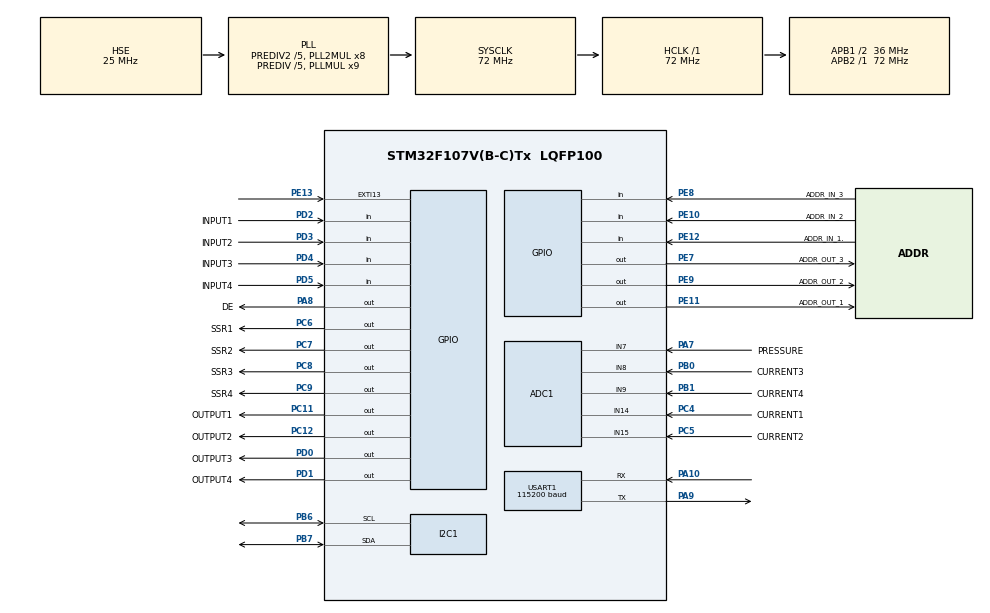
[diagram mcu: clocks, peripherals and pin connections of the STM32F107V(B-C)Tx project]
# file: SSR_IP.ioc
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ADC1.Channel-0\#ChannelRegularConversion=ADC_CHANNEL_14
ADC1.Channel-1\#ChannelRegularConversion=ADC_CHANNEL_15
ADC1.Channel-2\#ChannelRegularConversion=ADC_CHANNEL_8
ADC1.Channel-3\#ChannelRegularConversion=ADC_CHANNEL_9
ADC1.Channel-4\#ChannelRegularConversion=ADC_CHANNEL_7
ADC1.ContinuousConvMode=ENABLE
ADC1.NbrOfConversion=5
ADC1.NbrOfConversionFlag=1
ADC1.Rank-0\#ChannelRegularConversion=1
ADC1.Rank-1\#ChannelRegularConversion=2
ADC1.Rank-2\#ChannelRegularConversion=3
ADC1.Rank-3\#ChannelRegularConversion=4
ADC1.Rank-4\#ChannelRegularConversion=5
ADC1.SamplingTime-0\#ChannelRegularConversion=ADC_SAMPLETIME_239CYCLES_5
ADC1.SamplingTime-1\#ChannelRegularConversion=ADC_SAMPLETIME_239CYCLES_5
ADC1.SamplingTime-2\#ChannelRegularConversion=ADC_SAMPLETIME_239CYCLES_5
ADC1.SamplingTime-3\#ChannelRegularConversion=ADC_SAMPLETIME_239CYCLES_5
ADC1.SamplingTime-4\#ChannelRegularConversion=ADC_SAMPLETIME_239CYCLES_5
ADC1.master=1
Dma.ADC1.0.Direction=DMA_PERIPH_TO_MEMORY
Dma.ADC1.0.Instance=DMA1_Channel1
Dma.ADC1.0.MemDataAlignment=DMA_MDATAALIGN_HALFWORD
Dma.ADC1.0.MemInc=DMA_MINC_ENABLE
Dma.ADC1.0.Mode=DMA_CIRCULAR
Dma.ADC1.0.PeriphDataAlignment=DMA_PDATAALIGN_HALFWORD
Dma.ADC1.0.PeriphInc=DMA_PINC_DISABLE
Dma.ADC1.0.Priority=DMA_PRIORITY_LOW
Dma.Request0=ADC1
I2C1.OwnAddress=48
IWDG.Prescaler=IWDG_PRESCALER_32
IWDG.Reload=1500
Mcu.Family=STM32F1
Mcu.Name=STM32F107V(B-C)Tx
Mcu.Package=LQFP100
NVIC.DMA1_Channel1_IRQn=true\:0\:0\:false\:false\:true\:false\:true\:true
NVIC.I2C1_ER_IRQn=true\:0\:0\:false\:false\:true\:true\:true\:true
NVIC.I2C1_EV_IRQn=true\:0\:0\:false\:false\:true\:true\:true\:true
NVIC.PriorityGroup=NVIC_PRIORITYGROUP_4
NVIC.TIM2_IRQn=true\:0\:0\:false\:false\:true\:true\:true\:true
NVIC.TIM4_IRQn=true\:0\:0\:false\:false\:true\:true\:true\:true
NVIC.TIM5_IRQn=true\:0\:0\:false\:false\:true\:true\:true\:true
NVIC.USART1_IRQn=true\:0\:0\:false\:false\:true\:true\:true\:true
OSC_IN.Mode=HSE-External-Oscillator
OSC_IN.Signal=RCC_OSC_IN
OSC_OUT.Mode=HSE-External-Oscillator
OSC_OUT.Signal=RCC_OSC_OUT
PA10.Mode=Asynchronous
PA10.Signal=USART1_RX
PA13.Mode=Serial_Wire
PA13.Signal=SYS_JTMS-SWDIO
PA14.Mode=Serial_Wire
PA14.Signal=SYS_JTCK-SWCLK
PA7.GPIO_Label=PRESSURE
PA7.Signal=ADCx_IN7
PA8.GPIO_Label=DE
PA8.Signal=GPIO_Output
PA9.Mode=Asynchronous
PA9.Signal=USART1_TX
PB0.GPIO_Label=CURRENT3
PB0.Signal=ADCx_IN8
PB1.GPIO_Label=CURRENT4
PB1.Signal=ADCx_IN9
PB6.Mode=I2C
PB6.Signal=I2C1_SCL
PB7.Mode=I2C
PB7.Signal=I2C1_SDA
PC11.GPIO_Label=OUTPUT1
PC11.Signal=GPIO_Output
PC12.GPIO_Label=OUTPUT2
PC12.Signal=GPIO_Output
PC4.GPIO_Label=CURRENT1
PC4.Signal=ADCx_IN14
PC5.GPIO_Label=CURRENT2
PC5.Signal=ADCx_IN15
PC6.GPIO_Label=SSR1
PC6.Signal=GPIO_Output
PC7.GPIO_Label=SSR2
PC7.Signal=GPIO_Output
PC8.GPIO_Label=SSR3
PC8.Signal=GPIO_Output
PC9.GPIO_Label=SSR4
PC9.Signal=GPIO_Output
PD0.GPIO_Label=OUTPUT3
PD0.Signal=GPIO_Output
PD1.GPIO_Label=OUTPUT4
PD1.Signal=GPIO_Output
PD2.GPIO_Label=INPUT1
PD2.GPIO_PuPd=GPIO_PULLDOWN
PD2.Signal=GPIO_Input
PD3.GPIO_Label=INPUT2
PD3.GPIO_PuPd=GPIO_PULLDOWN
PD3.Signal=GPIO_Input
PD4.GPIO_Label=INPUT3
PD4.GPIO_PuPd=GPIO_PULLDOWN
PD4.Signal=GPIO_Input
PD5.GPIO_Label=INPUT4
PD5.GPIO_PuPd=GPIO_PULLDOWN
PD5.Signal=GPIO_Input
PE10.GPIO_Label=ADDR_IN_2
PE10.GPIO_PuPd=GPIO_PULLDOWN
PE10.Signal=GPIO_Input
PE11.GPIO_Label=ADDR_OUT_1
PE11.Signal=GPIO_Output
PE12.GPIO_Label=ADDR_IN_1.
PE12.GPIO_PuPd=GPIO_PULLDOWN
PE12.Signal=GPIO_Input
PE13.Signal=GPXTI13
PE7.GPIO_Label=ADDR_OUT_3
PE7.Signal=GPIO_Output
PE8.GPIO_Label=ADDR_IN_3
PE8.GPIO_PuPd=GPIO_PULLDOWN
PE8.Signal=GPIO_Input
PE9.GPIO_Label=ADDR_OUT_2
PE9.Signal=GPIO_Output
ProjectManager.HeapSize=0x200
ProjectManager.StackSize=0x400
ProjectManager.TargetToolchain=STM32CubeIDE
RCC.ADCPresc=RCC_ADCPCLK2_DIV6
RCC.AHBFreq_Value=72000000
RCC.APB1CLKDivider=RCC_HCLK_DIV2
RCC.APB1Freq_Value=36000000
RCC.APB1TimFreq_Value=72000000
RCC.APB2Freq_Value=72000000
RCC.APB2TimFreq_Value=72000000
RCC.HCLKFreq_Value=72000000
RCC.HSEDivPLL=RCC_HSE_PREDIV_DIV5
RCC.HSE_VALUE=25000000
RCC.PLLMUL=RCC_PLL_MUL9
RCC.PLLSourceVirtual=RCC_PLLSOURCE_HSE
RCC.Prediv1Source=RCC_PREDIV1_SOURCE_PLL2
RCC.Prediv2=RCC_HSE_PREDIV2_DIV5
RCC.SYSCLKFreq_VALUE=72000000
RCC.SYSCLKSource=RCC_SYSCLKSOURCE_PLLCLK
RCC.USBFreq_Value=48000000
SH.ADCx_IN14.0=ADC1_IN14,IN14
SH.ADCx_IN15.0=ADC1_IN15,IN15
SH.ADCx_IN7.0=ADC1_IN7,IN7
SH.ADCx_IN8.0=ADC1_IN8,IN8
SH.ADCx_IN9.0=ADC1_IN9,IN9
TIM1.Period=65535
TIM1.Prescaler=71
TIM2.Prescaler=71
TIM4.Prescaler=71
TIM5.Prescaler=71
USART1.BaudRate=115200
USART1.Parity=PARITY_NONE
USART1.StopBits=STOPBITS_1
USART1.VirtualMode=VM_ASYNC
VP_IWDG_VS_IWDG.Mode=IWDG_Activate
VP_TIM1_VS_ClockSourceINT.Mode=Internal
VP_TIM2_VS_ClockSourceINT.Mode=Internal
VP_TIM4_VS_ClockSourceINT.Mode=Internal
VP_TIM5_VS_ClockSourceINT.Mode=Internal
board=custom

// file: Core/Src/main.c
/* USER CODE BEGIN Header */
/**
  ******************************************************************************
  * @file           : main.c
  * @brief          : Main program body
  ******************************************************************************
  * @attention
  *
  * Copyright (c) 2025 STMicroelectronics.
  * All rights reserved.
  *
  * This software is licensed under terms that can be found in the LICENSE file
  * in the root directory of this software component.
  * If no LICENSE file comes with this software, it is provided AS-IS.
  *
  ******************************************************************************
  */
/* USER CODE END Header */
#include "main.h"
#include "adc.h"
#include "dma.h"
#include "i2c.h"
#include "iwdg.h"
#include "tim.h"
#include "usart.h"
#include "gpio.h"

/* USER CODE BEGIN Includes */
#include "encoder.h"
#include <string.h>
#include <stdlib.h>
#include <stdio.h>
#include "modbusSlave.h"
/* USER CODE END Includes */

/* USER CODE BEGIN PD */
// Define AC line frequency (50Hz or 60Hz)
#define AC_LINE_FREQUENCY 60  // Change to 60 for 60Hz systems

// Calculate half-cycle period in microseconds based on frequency
#define HALF_CYCLE_PERIOD_US (1000000 / (AC_LINE_FREQUENCY * 2))

// Register address definitions (Modbus addresses - 40001 = index 0)
#define REG_LIN_ENC1_POS       0   // 40001
#define REG_LIN_ENC2_POS       1   // 40002
#define REG_LIN_ENC3_POS       2   // 40003
#define REG_LIN_ENC4_POS       3   // 40004
#define REG_ENERGY_SSR1        4   // 40005
#define REG_ENERGY_SSR2        5   // 40006
#define REG_ENERGY_SSR3        6   // 40007
#define REG_ENERGY_SSR4        7   // 40008

#define REG_SSR1_CTRL          100 // 40101
#define REG_SSR2_CTRL          101 // 40102
#define REG_SSR3_CTRL          102 // 40103
#define REG_SSR4_CTRL          103 // 40104
#define REG_RESET_ENC1         104 // 40105
#define REG_RESET_ENC2         105 // 40106
#define REG_RESET_ENC3         106 // 40107
#define REG_RESET_ENC4         107 // 40108
#define REG_RESET_ENERGY1      108 // 40109
#define REG_RESET_ENERGY2      109 // 40110
#define REG_RESET_ENERGY3      110 // 40111
#define REG_RESET_ENERGY4      111 // 40112
#define REG_TIP_ENERGY_PCT1    112 // 40113
#define REG_TIP_ENERGY_PCT2    113 // 40114
#define REG_TIP_ENERGY_PCT3    114 // 40115
#define REG_TIP_ENERGY_PCT4    115 // 40116
/* USER CODE END PD */

/* USER CODE BEGIN PV */
#define LINE_VOLTAGE 110.0f // Assuming 220V AC line voltage. Please change if different.
static float energy_joules[4] = {0.0f, 0.0f, 0.0f, 0.0f};
static uint32_t last_energy_tick = 0;

uint8_t RxData[256];
uint8_t TxData[256];

void HAL_UARTEx_RxEventCallback(UART_HandleTypeDef *huart, uint16_t Size)
{

	if (RxData[0] == SLAVE_ID)
	{
//     Refresh IWDG counter to prevent reset
		if (HAL_IWDG_Refresh(&hiwdg) != HAL_OK)
		{
			Error_Handler(); // Implement your error handler
		}
		switch (RxData[1]){
		case 0x03:
			readHoldingRegs();
			break;
		case 0x04:
			readInputRegs();
			break;
		case 0x01:
			readCoils();
			break;
		case 0x02:
			readInputs();
			break;
		case 0x06:
			writeSingleReg();
			break;
		case 0x10:
			writeHoldingRegs();
			break;
		case 0x05:
			writeSingleCoil();
			break;
		case 0x0F:
			writeMultiCoils();
			break;
		default:
			modbusException(ILLEGAL_FUNCTION);
			break;
		}
	}

	HAL_UARTEx_ReceiveToIdle_IT(&huart1, RxData, 256);
}

uint16_t dimmerValue = 0;         // Dimmer value (0-100%)
char rxBuffer[10];              // Buffer to store received characters
uint8_t rxIndex = 0;            // Index for received characters
uint8_t rxComplete = 0;         // Flag to indicate reception complete
uint8_t rxData;                 // Single byte for UART reception

// Variables for AC dimming control
// Dimmer values and delays for each SSR (1-4)
volatile uint16_t dimmerValues[4] = {0, 0, 0, 0};  // Dimmer values (0-100%) for each SSR
volatile uint16_t dimmerDelaysUs[4] = {9999, 9999, 9999, 9999};  // Calculated delay times in microseconds
volatile uint8_t triacTriggered[4] = {0, 0, 0, 0};  // Flags to indicate if triacs have been triggered in current half-cycle
volatile uint8_t ssrControlByte = 0x0F;  // Control byte for SSRs (lower 4 bits control SSR1-4)

//// For backward compatibility with existing code
//#define dimmerValue dimmerValues[0]
//#define dimmerDelayUs dimmerDelaysUs[0]

uint16_t ADC_VAL[5];

// Zero current calibration values for each channel
uint16_t zeroCurrentCal[5] = {0};
/* USER CODE END PV */

void SystemClock_Config(void);
/* USER CODE BEGIN PFP */
void get_energy_values(float* current_mA, uint8_t ssr_states[]);
void ProcessReceivedValue(void); // Function to process received data
void CalibrateZeroCurrent(void); // Function to calibrate zero current values
void SetSSRState(uint8_t ssrNum, uint8_t state); // Function to control individual SSRs
void read_modbus_address(void); // Function to read slave address from GPIOs
/* USER CODE END PFP */

/* USER CODE BEGIN 0 */

void read_modbus_address(void)
{
    // Set ADDR_OUT pins to high to power the DIP switches or jumpers
    HAL_GPIO_WritePin(ADDR_OUT_1_GPIO_Port, ADDR_OUT_1_Pin, GPIO_PIN_SET);
    HAL_GPIO_WritePin(ADDR_OUT_2_GPIO_Port, ADDR_OUT_2_Pin, GPIO_PIN_SET);
    HAL_GPIO_WritePin(ADDR_OUT_3_GPIO_Port, ADDR_OUT_3_Pin, GPIO_PIN_SET);

    // A small delay might be needed for signals to stabilize
    HAL_Delay(1);

    // Read the state of the ADDR_IN pins
    // Note: ADDR_IN_1__Pin is used as provided by the user.
    uint8_t addr_bit0 = HAL_GPIO_ReadPin(ADDR_IN_1__GPIO_Port, ADDR_IN_1__Pin); // LSB
    uint8_t addr_bit1 = HAL_GPIO_ReadPin(ADDR_IN_2_GPIO_Port, ADDR_IN_2_Pin);
    uint8_t addr_bit2 = HAL_GPIO_ReadPin(ADDR_IN_3_GPIO_Port, ADDR_IN_3_Pin); // MSB

    // Combine the bits to form the 3-bit slave address
    SLAVE_ID = (addr_bit2 << 2) | (addr_bit1 << 1) | addr_bit0;
    //SLAVE_ID ++;
}

uint64_t timeout = 500; // 500 milliseconds
uint64_t previous_time=0;
#define I2C_TIMEOUT 100

uint8_t received_data[13]={0,0,0,0,0,0,0};
uint8_t sent_data[13];

void HAL_I2C_ListenCpltCallback(I2C_HandleTypeDef *hi2c)
{
	// Re-enable I2C listening after a complete transaction
	HAL_I2C_EnableListen_IT(hi2c);
}

void no_color(void) {
    HAL_GPIO_WritePin(OUTPUT2_GPIO_Port, OUTPUT2_Pin, GPIO_PIN_RESET);
    HAL_GPIO_WritePin(OUTPUT3_GPIO_Port, OUTPUT3_Pin, GPIO_PIN_RESET);
}

void red_color(void) {
    HAL_GPIO_WritePin(OUTPUT2_GPIO_Port, OUTPUT2_Pin, GPIO_PIN_RESET);
    HAL_GPIO_WritePin(OUTPUT3_GPIO_Port, OUTPUT3_Pin, GPIO_PIN_SET);
}

void green_color(void) {
    HAL_GPIO_WritePin(OUTPUT2_GPIO_Port, OUTPUT2_Pin, GPIO_PIN_SET);
    HAL_GPIO_WritePin(OUTPUT3_GPIO_Port, OUTPUT3_Pin, GPIO_PIN_RESET);
}

void yellow_color(void) {
    HAL_GPIO_WritePin(OUTPUT2_GPIO_Port, OUTPUT2_Pin, GPIO_PIN_SET);
    HAL_GPIO_WritePin(OUTPUT3_GPIO_Port, OUTPUT3_Pin, GPIO_PIN_SET);
}

void set_led_color(uint8_t led_color) {
    switch (led_color) {
        case 0: // No color
            no_color();
            break;
        case 1: // Red color
        	green_color();
            break;
        case 2: // Green color
            red_color();
            break;
        case 3: // Yellow color
            yellow_color();
            break;
        default:
            break;
    }
}

// Function to calibrate zero current values by taking 100 samples per channel
void CalibrateZeroCurrent(void)
{
  uint32_t sampleSums[5] = {0}; // Sum of samples for each channel
  const uint16_t numSamples = 100;

  // Take 100 samples for each channel
  for(uint16_t i = 0; i < numSamples; i++) {
    // Wait for next DMA conversion to complete
    HAL_Delay(1); // Small delay to ensure new samples

    // Add current samples to sums
    for(uint8_t channel = 0; channel < 5; channel++) {
      sampleSums[channel] += ADC_VAL[channel];
    }
  }

  // Calculate averages and store as calibration values
  for(uint8_t channel = 0; channel < 5; channel++) {
    zeroCurrentCal[channel] = (uint16_t)(sampleSums[channel] / numSamples);
  }
}

// Timer Update Interrupt Callback
void HAL_TIM_PeriodElapsedCallback(TIM_HandleTypeDef *htim)
{
  if (htim->Instance == TIM1) {
    // Timer 1 controls SSR1
    if(ssrControlByte & 0x01) HAL_GPIO_WritePin(SSR1_GPIO_Port, SSR1_Pin, GPIO_PIN_SET);

    // Set flag to indicate triac has been triggered in this half-cycle
    triacTriggered[0] = 1;

    // Stop the timer
    HAL_TIM_Base_Stop_IT(&htim1);
  }
}

// GPIO EXTI Callback
void HAL_GPIO_EXTI_Callback(uint16_t GPIO_Pin)
{
  // Check if this is our zero-crossing pin
  if (GPIO_Pin == GPIO_PIN_13) {
    // Reset all triac triggered flags at each zero crossing
    for (uint8_t i = 0; i < 4; i++) {
      triacTriggered[i] = 0;
    }

    // Turn off all SSRs at zero crossing
    HAL_GPIO_WritePin(SSR1_GPIO_Port, SSR1_Pin, GPIO_PIN_RESET);
    HAL_GPIO_WritePin(SSR2_GPIO_Port, SSR2_Pin, GPIO_PIN_RESET);
    HAL_GPIO_WritePin(SSR3_GPIO_Port, SSR3_Pin, GPIO_PIN_RESET);
    HAL_GPIO_WritePin(SSR4_GPIO_Port, SSR4_Pin, GPIO_PIN_RESET);

    // Handle SSR1 with Timer1
    if (dimmerValues[0] > 0) {
      if (dimmerValues[0] < 100) {
        // Make sure timer is stopped before reconfiguring
        HAL_TIM_Base_Stop_IT(&htim1);

        // Set up Timer1 for one-shot operation with the calculated delay
        __HAL_TIM_SET_COUNTER(&htim1, 0);  // Reset counter
        __HAL_TIM_SET_AUTORELOAD(&htim1, dimmerDelaysUs[0]);  // Set delay in microseconds

        // Start the timer in interrupt mode
        HAL_TIM_Base_Start_IT(&htim1);

      } else {
        // If dimmer is 100%, keep SSR fully on
        if(ssrControlByte & 0x01) HAL_GPIO_WritePin(SSR1_GPIO_Port, SSR1_Pin, GPIO_PIN_SET);
      }
    }

    // Handle SSR2 with Timer2
    if (dimmerValues[1] > 0) {
      if (dimmerValues[1] < 100) {
        // Make sure timer is stopped before reconfiguring
        HAL_TIM_Base_Stop_IT(&htim2);

        // Set up Timer2 for one-shot operation with the calculated delay
        __HAL_TIM_SET_COUNTER(&htim2, 0);  // Reset counter
        __HAL_TIM_SET_AUTORELOAD(&htim2, dimmerDelaysUs[1]);  // Set delay in microseconds

        // Start the timer in interrupt mode
        HAL_TIM_Base_Start_IT(&htim2);
      } else {
        // If dimmer is 100%, keep SSR fully on
        if(ssrControlByte & 0x02) HAL_GPIO_WritePin(SSR2_GPIO_Port, SSR2_Pin, GPIO_PIN_SET);
      }
    }

    // Handle SSR3 with Timer4
    if (dimmerValues[2] > 0) {
      if (dimmerValues[2] < 100) {
        // Make sure timer is stopped before reconfiguring
        HAL_TIM_Base_Stop_IT(&htim4);

        // Set up Timer4 for one-shot operation with the calculated delay
        __HAL_TIM_SET_COUNTER(&htim4, 0);  // Reset counter
        __HAL_TIM_SET_AUTORELOAD(&htim4, dimmerDelaysUs[2]);  // Set delay in microseconds

        // Start the timer in interrupt mode
        HAL_TIM_Base_Start_IT(&htim4);
      } else {
        // If dimmer is 100%, keep SSR fully on
        if(ssrControlByte & 0x04) HAL_GPIO_WritePin(SSR3_GPIO_Port, SSR3_Pin, GPIO_PIN_SET);
      }
    }

    // Handle SSR4 with Timer5
    if (dimmerValues[3] > 0) {
      if (dimmerValues[3] < 100) {
        // Make sure timer is stopped before reconfiguring
        HAL_TIM_Base_Stop_IT(&htim5);

        // Set up Timer5 for one-shot operation with the calculated delay
        __HAL_TIM_SET_COUNTER(&htim5, 0);  // Reset counter
        __HAL_TIM_SET_AUTORELOAD(&htim5, dimmerDelaysUs[3]);  // Set delay in microseconds

        // Start the timer in interrupt mode
        HAL_TIM_Base_Start_IT(&htim5);
      } else {
        // If dimmer is 100%, keep SSR fully on
        if(ssrControlByte & 0x08) HAL_GPIO_WritePin(SSR4_GPIO_Port, SSR4_Pin, GPIO_PIN_SET);
      }
    }
  }
}
int32_t current_mA[4];

// Function to set individual SSR state (1-4)
void SetSSRState(uint8_t ssrNum, uint8_t state)
{
    if(ssrNum < 1 || ssrNum > 4) return; // Invalid SSR number

    uint8_t bitMask = 1 << (ssrNum - 1); // Calculate bit position (0-3)

    if(state) {
        ssrControlByte |= bitMask;  // Set bit to enable SSR
    } else {
        ssrControlByte &= ~bitMask; // Clear bit to disable SSR
    }
}

// Function to set individual SSR dimmer value (0-100%)
void SetSSRDimmerValue(uint8_t ssrNum, uint16_t value)
{
    if(ssrNum < 1 || ssrNum > 4) return; // Invalid SSR number

    // Limit to range (0-100)
    if (value > 100) {
        value = 100;
    }

    // Convert value 1 to 2 for more stable operation
    if (value == 1) {
        value = 2;
    }

    // Update dimmer value for the specified SSR
    dimmerValues[ssrNum - 1] = value;

    // Calculate dimming delay in microseconds
    if (value == 0) {
        // If dimmer is 0%, keep SSR off
        dimmerDelaysUs[ssrNum - 1] = HALF_CYCLE_PERIOD_US; // Set to max delay (never trigger)
    } else if (value == 100) {
        // If dimmer is 100%, keep SSR fully on
        dimmerDelaysUs[ssrNum - 1] = 0;     // No delay (trigger immediately)
    } else {
        // Calculate delay (0% = HALF_CYCLE_PERIOD_US delay, 100% = 0us delay)
        dimmerDelaysUs[ssrNum - 1] = HALF_CYCLE_PERIOD_US - ((value * HALF_CYCLE_PERIOD_US) / 100);

        // Make sure we have a valid delay value (not 0 or too large)
        if (dimmerDelaysUs[ssrNum - 1] >= HALF_CYCLE_PERIOD_US) {
            dimmerDelaysUs[ssrNum - 1] = HALF_CYCLE_PERIOD_US - 100; // Leave a small margin
        } else if (dimmerDelaysUs[ssrNum - 1] == 0) {
            dimmerDelaysUs[ssrNum - 1] = 1;
        }
    }
}

void GetCurrentReadings()
{
    // Take 100 samples and average them
    #define NUM_SAMPLES 10
    uint32_t adc_sum[4] = {0};

    for(int i = 0; i < NUM_SAMPLES; i++)
    {
      HAL_ADC_Start_DMA(&hadc1, (uint32_t*)ADC_VAL, 4);
      //HAL_Delay(1); // Small delay between samples
      for(int ch = 0; ch < 4; ch++)
      {
        adc_sum[ch] += ADC_VAL[ch];
      }
    }

    // Calculate average ADC values
    int32_t adc_avg[4];
    for(int ch = 0; ch < 4; ch++)
    {
      adc_avg[ch] = adc_sum[ch] / NUM_SAMPLES;
    }

    // Combined conversion factor: (3300 * 1000 * 0.707) / (4095 * 132) = 4.3162
    const float CURRENT_CONVERSION_FACTOR = 4.3162f;

    // Convert averaged ADC values to current (mA)
    for(int ch = 0; ch < 4; ch++)
    {
      int32_t value = (adc_avg[ch] - zeroCurrentCal[ch]) * CURRENT_CONVERSION_FACTOR;
       current_mA[ch] = (value < 0) ? 0 : value;
//      current_mA[ch] = value;
    }
}

/* USER CODE END 0 */

int main(void)
{

  /* MCU Configuration--------------------------------------------------------*/

  /* Reset of all peripherals, Initializes the Flash interface and the Systick. */
  HAL_Init();

  /* Configure the system clock */
  SystemClock_Config();

  /* Initialize all configured peripherals */
  MX_GPIO_Init();
  MX_DMA_Init();
  MX_USART1_UART_Init();
  MX_TIM1_Init();
  MX_ADC1_Init();
  MX_TIM2_Init();
  MX_TIM4_Init();
  MX_TIM5_Init();
  MX_I2C1_Init();
  MX_IWDG_Init();
  /* USER CODE BEGIN 2 */

  read_modbus_address(); // Read slave ID from GPIO pins

  HAL_UARTEx_ReceiveToIdle_IT(&huart1, RxData, 256);
  sent_data[2]=1;
  //HAL_I2C_EnableListen_IT(&hi2c1);
  // Start ADC with DMA
  HAL_ADC_Start_DMA(&hadc1, (uint32_t*)ADC_VAL, 5);

  // Wait a short time for ADC to stabilize
  HAL_Delay(1);

  // Perform zero current calibration
  CalibrateZeroCurrent();

  // Enable EXTI Line 13 interrupt for zero-crossing detection
  HAL_NVIC_SetPriority(EXTI15_10_IRQn, 1, 0);
  HAL_NVIC_EnableIRQ(EXTI15_10_IRQn);

  // Initialize SSR pin to OFF state
  HAL_GPIO_WritePin(SSR1_GPIO_Port, SSR1_Pin, GPIO_PIN_RESET);

  // Initialize Timer1 for microsecond timing
  // Stop any running timer operations first
  HAL_TIM_Base_Stop(&htim1);
  HAL_TIM_Base_Stop_IT(&htim1);

  // Enable Timer1 interrupt with lower priority
  HAL_NVIC_SetPriority(TIM1_UP_IRQn, 3, 0);
  HAL_NVIC_EnableIRQ(TIM1_UP_IRQn);

  // Initialize Timer2 for microsecond timing
  // Stop any running timer operations first
  HAL_TIM_Base_Stop(&htim2);
  HAL_TIM_Base_Stop_IT(&htim2);

  // Enable Timer2 interrupt with lower priority
  HAL_NVIC_SetPriority(TIM2_IRQn, 4, 0);
  HAL_NVIC_EnableIRQ(TIM2_IRQn);

  // Initialize Timer4 for microsecond timing (SSR3)
  // Stop any running timer operations first
  HAL_TIM_Base_Stop(&htim4);
  HAL_TIM_Base_Stop_IT(&htim4);

  // Enable Timer4 interrupt
  HAL_NVIC_SetPriority(TIM4_IRQn, 5, 0);
  HAL_NVIC_EnableIRQ(TIM4_IRQn);

  // Initialize Timer5 for microsecond timing (SSR4)
  // Stop any running timer operations first
  HAL_TIM_Base_Stop(&htim5);
  HAL_TIM_Base_Stop_IT(&htim5);

  // Enable Timer5 interrupt
  HAL_NVIC_SetPriority(TIM5_IRQn, 6, 0);
  HAL_NVIC_EnableIRQ(TIM5_IRQn);

  // Start UART reception in interrupt mode
  HAL_UART_Receive_IT(&huart1, &rxData, 1);

  /* USER CODE END 2 */

  /* Infinite loop */
  while (1)
  {

    /* USER CODE BEGIN 3 */

	  GetCurrentReadings();

	  uint8_t _ssr1_dimmer = Holding_Registers_Database[REG_TIP_ENERGY_PCT1];
	  uint8_t _ssr2_dimmer = Holding_Registers_Database[REG_TIP_ENERGY_PCT2];
	  uint8_t _ssr3_dimmer = Holding_Registers_Database[REG_TIP_ENERGY_PCT3];
	  uint8_t _ssr4_dimmer = Holding_Registers_Database[REG_TIP_ENERGY_PCT4];

	  uint8_t _ssr1_state = (Holding_Registers_Database[REG_SSR1_CTRL] & 0x1) ? 1 : 0;
	  uint8_t _ssr2_state = (Holding_Registers_Database[REG_SSR2_CTRL] & 0x1) ? 1 : 0;
	  uint8_t _ssr3_state = (Holding_Registers_Database[REG_SSR3_CTRL] & 0x1) ? 1 : 0;
	  uint8_t _ssr4_state = (Holding_Registers_Database[REG_SSR4_CTRL] & 0x1) ? 1 : 0;

	  encoders[0].Reset = (Holding_Registers_Database[REG_RESET_ENC1] & 0x1) ? 1 : 0;
	  encoders[1].Reset = (Holding_Registers_Database[REG_RESET_ENC2] & 0x1) ? 1 : 0;
	  encoders[2].Reset = (Holding_Registers_Database[REG_RESET_ENC3] & 0x1) ? 1 : 0;
	  encoders[3].Reset = (Holding_Registers_Database[REG_RESET_ENC4] & 0x1) ? 1 : 0;

	  uint8_t ssr_states[] = {_ssr1_state, _ssr2_state, _ssr3_state, _ssr4_state};
	  float current_mA_float[4];
	  for (int i = 0; i < 4; i++) {
		  current_mA_float[i] = (float)current_mA[i];
	  }
	  get_energy_values(current_mA_float, ssr_states);

	  SetSSRDimmerValue(1,_ssr1_dimmer);
	  SetSSRDimmerValue(2,_ssr2_dimmer);
	  SetSSRDimmerValue(3,_ssr3_dimmer);
	  SetSSRDimmerValue(4,_ssr4_dimmer);
	  SetSSRState(1,_ssr1_state);
	  SetSSRState(2,_ssr2_state);
	  SetSSRState(3,_ssr3_state);
	  SetSSRState(4,_ssr4_state);

	  encoder_sync(encoders,TOTAL_ENCODERS);

	  Holding_Registers_Database[REG_LIN_ENC1_POS] = (uint16_t)(encoders[0].Distance*100);
	  Holding_Registers_Database[REG_LIN_ENC2_POS] = (uint16_t)(encoders[1].Distance*100);
	  Holding_Registers_Database[REG_LIN_ENC3_POS] = (uint16_t)(encoders[2].Distance*100);
	  Holding_Registers_Database[REG_LIN_ENC4_POS] = (uint16_t)(encoders[3].Distance*100);

	  HAL_Delay(50);
  }
  /* USER CODE END 3 */
}

void SystemClock_Config(void)
{
  RCC_OscInitTypeDef RCC_OscInitStruct = {0};
  RCC_ClkInitTypeDef RCC_ClkInitStruct = {0};
  RCC_PeriphCLKInitTypeDef PeriphClkInit = {0};

  /** Initializes the RCC Oscillators according to the specified parameters
  * in the RCC_OscInitTypeDef structure.
  */
  RCC_OscInitStruct.OscillatorType = RCC_OSCILLATORTYPE_LSI|RCC_OSCILLATORTYPE_HSE;
  RCC_OscInitStruct.HSEState = RCC_HSE_ON;
  RCC_OscInitStruct.HSEPredivValue = RCC_HSE_PREDIV_DIV5;
  RCC_OscInitStruct.HSIState = RCC_HSI_ON;
  RCC_OscInitStruct.LSIState = RCC_LSI_ON;
  RCC_OscInitStruct.Prediv1Source = RCC_PREDIV1_SOURCE_PLL2;
  RCC_OscInitStruct.PLL.PLLState = RCC_PLL_ON;
  RCC_OscInitStruct.PLL.PLLSource = RCC_PLLSOURCE_HSE;
  RCC_OscInitStruct.PLL.PLLMUL = RCC_PLL_MUL9;
  RCC_OscInitStruct.PLL2.PLL2State = RCC_PLL2_ON;
  RCC_OscInitStruct.PLL2.PLL2MUL = RCC_PLL2_MUL8;
  RCC_OscInitStruct.PLL2.HSEPrediv2Value = RCC_HSE_PREDIV2_DIV5;
  if (HAL_RCC_OscConfig(&RCC_OscInitStruct) != HAL_OK)
  {
    Error_Handler();
  }

  /** Initializes the CPU, AHB and APB buses clocks
  */
  RCC_ClkInitStruct.ClockType = RCC_CLOCKTYPE_HCLK|RCC_CLOCKTYPE_SYSCLK
                              |RCC_CLOCKTYPE_PCLK1|RCC_CLOCKTYPE_PCLK2;
  RCC_ClkInitStruct.SYSCLKSource = RCC_SYSCLKSOURCE_PLLCLK;
  RCC_ClkInitStruct.AHBCLKDivider = RCC_SYSCLK_DIV1;
  RCC_ClkInitStruct.APB1CLKDivider = RCC_HCLK_DIV2;
  RCC_ClkInitStruct.APB2CLKDivider = RCC_HCLK_DIV1;

  if (HAL_RCC_ClockConfig(&RCC_ClkInitStruct, FLASH_LATENCY_2) != HAL_OK)
  {
    Error_Handler();
  }
  PeriphClkInit.PeriphClockSelection = RCC_PERIPHCLK_ADC;
  PeriphClkInit.AdcClockSelection = RCC_ADCPCLK2_DIV6;
  if (HAL_RCCEx_PeriphCLKConfig(&PeriphClkInit) != HAL_OK)
  {
    Error_Handler();
  }

  /** Configure the Systick interrupt time
  */
  __HAL_RCC_PLLI2S_ENABLE();
}

/* USER CODE BEGIN 4 */
// Function to check and reset energy values based on holding registers 20-23
void check_energy_reset_holding_registers(void)
{
    // Check each of the holding registers (20-23)
    for (int i = 0; i < 4; i++)
    {
        // Check if the register has a non-zero value (trigger condition)
        if (Holding_Registers_Database[REG_RESET_ENERGY1 + i] != 0)
        {
            // Reset the energy value for this channel
            energy_joules[i] = 0.0f;
            // Update the energy display register immediately
            Holding_Registers_Database[REG_ENERGY_SSR1 + i] = 0;
            // Clear the trigger register
            Holding_Registers_Database[REG_RESET_ENERGY1 + i] = 0;
        }
    }
}

void get_energy_values(float* current_mA, uint8_t ssr_states[])
{
	// First check if any energy reset coils are active
	check_energy_reset_holding_registers();

	// Calculate time delta since last call
	uint32_t current_tick = HAL_GetTick();
	// Initialize last_energy_tick on the first run
	if (last_energy_tick == 0)
	{
		last_energy_tick = current_tick;
		return;
	}
	float time_delta_seconds = (float)(current_tick - last_energy_tick) / 1000.0f;
	last_energy_tick = current_tick;

	// Loop through each of the 4 SSR channels
	for (int i = 0; i < 4; i++)
	{
		// Only accumulate energy if the corresponding SSR is ON
		if (ssr_states[i])
		{
			// Convert current from mA to A
			float current_A = current_mA[i] / 1000.0f;
			// Calculate power in Watts (P = V * I)
			float power_W = LINE_VOLTAGE * current_A;
			// Calculate energy delta in Joules (E = P * t)
			float energy_delta_J = power_W * time_delta_seconds;
			// Add to the cumulative energy for the channel
			energy_joules[i] += energy_delta_J;
		}
		// Store the integer part of the cumulative energy in the holding register.
		// Note: This will overflow if energy exceeds 65535 Joules.
		// A 32-bit value using two registers would be better for long-term accumulation.
		Holding_Registers_Database[REG_ENERGY_SSR1 + i] = (uint16_t)energy_joules[i];
	}
}
/* USER CODE END 4 */

void Error_Handler(void)
{
  __disable_irq();
  while (1)
  {
  }
}
